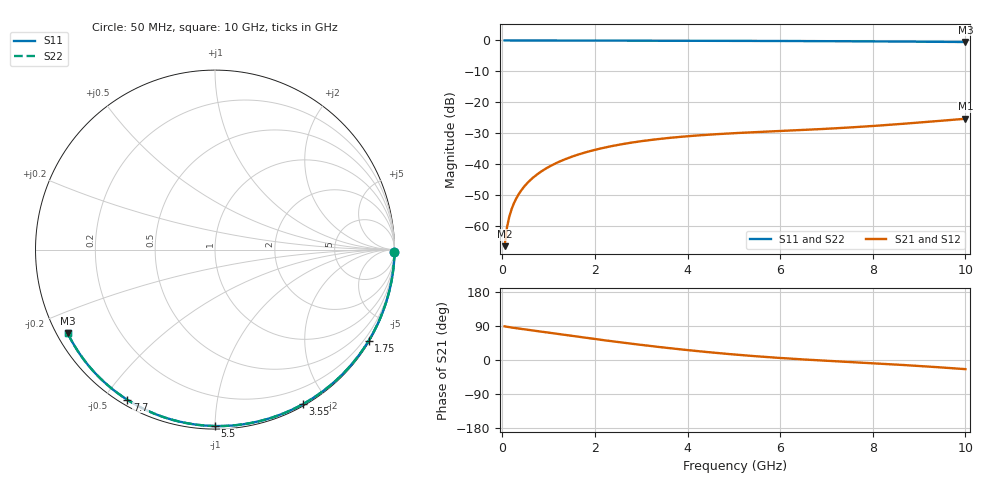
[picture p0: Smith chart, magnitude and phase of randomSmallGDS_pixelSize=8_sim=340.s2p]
! freq	dB(S11)	phase(S11)	dB(S12)	phase(S12)
!  dB(S21)	phase(S21)	dB(S22)	phase(S22)
!S-par simulation data
#  GHz  S  DB  R 50
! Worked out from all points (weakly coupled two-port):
!   200 points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, 50 MHz to 10 GHz, reference 50 ohm
!   highest |S21| = -25.36 dB at 10 GHz (marker M1); lowest = -66.6 dB at 50 MHz (marker M2)
!   lowest |S11| = -0.5 dB at 10 GHz (marker M3), VSWR 34.71, Z = 1.54 - j13.2 ohm
!   |S11| at or under -10 dB: nowhere
!   |S22| runs from -0.5 to 0.0 dB; largest |S21 - S12| = 0
!   S11 on the Smith chart (normalised r, x): 50 MHz: open; 1.75 GHz: 0.03, -3.65; 3.55 GHz: 0.02, -1.72; 5.5 GHz: 0.02, -1.00; 7.7 GHz: 0.02, -0.57; 10 GHz: 0.03, -0.26
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0.05  -0.00 -0.9  -66.62 88.8  -66.62 88.8  -0.00 -0.9
0.1  -0.00 -1.8  -60.63 87.7  -60.63 87.7  -0.00 -1.8
0.15  -0.00 -2.7  -57.14 86.6  -57.14 86.6  -0.00 -2.7
0.2  -0.00 -3.6  -54.68 85.7  -54.68 85.7  -0.00 -3.6
0.25  -0.00 -4.5  -52.77 84.8  -52.77 84.8  -0.00 -4.5
0.35  -0.00 -6.2  -49.89 83.1  -49.89 83.1  -0.00 -6.2
0.5  -0.01 -8.9  -46.85 80.6  -46.85 80.6  -0.01 -8.9
0.7  -0.01 -12.4  -43.98 77.2  -43.98 77.2  -0.01 -12.4
1  -0.02 -17.7  -40.98 72.1  -40.98 72.1  -0.02 -17.7
1.35  -0.03 -23.8  -38.50 66.2  -38.50 66.2  -0.03 -23.8
1.75  -0.04 -30.7  -36.44 59.5  -36.44 59.5  -0.04 -30.7
2.5  -0.06 -43.3  -33.82 47.4  -33.82 47.4  -0.06 -43.3
3.4  -0.08 -58.1  -31.88 34.1  -31.88 34.1  -0.08 -58.1
3.55  -0.08 -60.5  -31.64 32.1  -31.64 32.1  -0.08 -60.5
4.3  -0.10 -72.2  -30.68 22.4  -30.68 22.4  -0.10 -72.2
5.05  -0.13 -83.4  -30.00 14.1  -30.00 14.1  -0.13 -83.4
5.5  -0.15 -90.0  -29.66 9.7  -29.66 9.7  -0.15 -90.0
6.7  -0.21 -106.9  -28.84 0.0  -28.84 0.0  -0.21 -106.9
7.7  -0.28 -120.3  -28.00 -6.6  -28.00 -6.6  -0.28 -120.3
8.35  -0.33 -128.9  -27.33 -11.0  -27.33 -11.0  -0.33 -128.9
9.2  -0.41 -140.0  -26.34 -17.3  -26.34 -17.3  -0.41 -140.0
10  -0.50 -150.4  -25.36 -24.1  -25.36 -24.1  -0.50 -150.4
